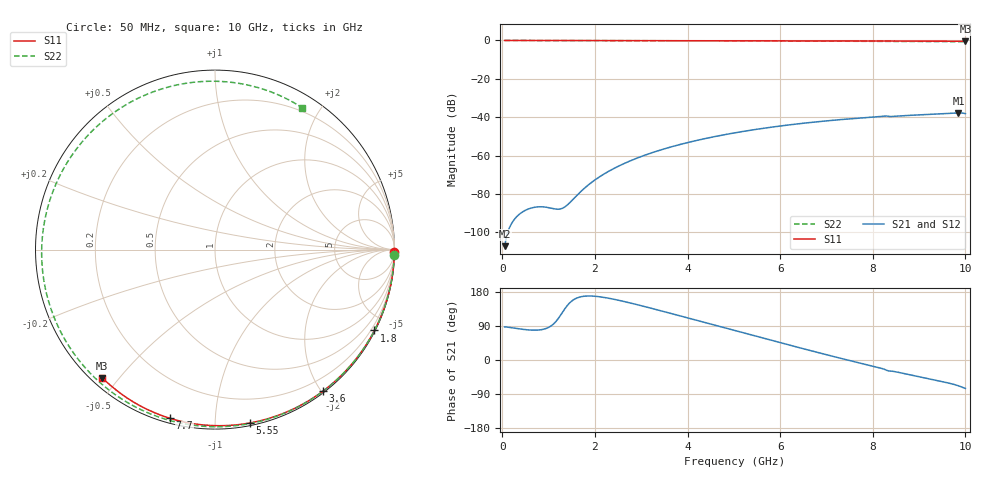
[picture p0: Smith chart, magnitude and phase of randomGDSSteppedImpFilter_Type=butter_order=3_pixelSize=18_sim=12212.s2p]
! freq	dB(S11)	phase(S11)	dB(S12)	phase(S12)
!  dB(S21)	phase(S21)	dB(S22)	phase(S22)
!S-par simulation data
#  GHz  S  DB  R 50
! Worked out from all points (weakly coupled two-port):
!   200 points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, 50 MHz to 10 GHz, reference 50 ohm
!   highest |S21| = -37.76 dB at 9.85 GHz (marker M1); lowest = -107.2 dB at 50 MHz (marker M2)
!   lowest |S11| = -0.4 dB at 10 GHz (marker M3), VSWR 40.26, Z = 1.5 - j22.6 ohm
!   |S11| at or under -10 dB: nowhere
!   |S22| runs from -0.6 to 0.0 dB; largest |S21 - S12| = 0
!   S11 on the Smith chart (normalised r, x): 50 MHz: open; 1.8 GHz: 0.04, -4.18; 3.6 GHz: 0.02, -2.02; 5.55 GHz: 0.02, -1.22; 7.7 GHz: 0.02, -0.77; 10 GHz: 0.03, -0.45
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0.05  -0.00 -0.8  -107.19 87.3  -107.19 87.3  -0.00 -1.6
0.8  -0.01 -12.1  -86.67 79.3  -86.67 79.3  -0.03 -25.4
1.6  -0.03 -24.0  -80.96 163.1  -80.96 163.1  -0.06 -50.0
1.65  -0.03 -24.7  -79.76 165.4  -79.76 165.4  -0.06 -51.5
1.75  -0.03 -26.2  -77.49 168.1  -77.49 168.1  -0.07 -54.5
1.8  -0.03 -26.9  -76.44 168.7  -76.44 168.7  -0.07 -56.0
2.1  -0.04 -31.3  -71.05 166.9  -71.05 166.9  -0.08 -64.9
2.45  -0.05 -36.3  -66.21 159.2  -66.21 159.2  -0.09 -75.1
2.9  -0.06 -42.8  -61.40 146.4  -61.40 146.4  -0.11 -88.0
3.4  -0.07 -49.8  -57.21 130.7  -57.21 130.7  -0.13 -101.9
3.6  -0.07 -52.6  -55.77 124.2  -55.77 124.2  -0.14 -107.3
4.3  -0.09 -62.1  -51.54 101.3  -51.54 101.3  -0.17 -126.2
5.05  -0.11 -72.1  -48.01 76.6  -48.01 76.6  -0.21 -146.1
5.55  -0.13 -78.6  -46.09 60.3  -46.09 60.3  -0.25 -159.4
6.15  -0.15 -86.1  -44.13 40.9  -44.13 40.9  -0.29 -175.7
6.7  -0.18 -92.9  -42.62 23.4  -42.62 23.4  -0.34 168.9
7.2  -0.21 -99.0  -41.47 7.8  -41.47 7.8  -0.38 154.3
7.7  -0.24 -104.9  -40.49 -7.5  -40.49 -7.5  -0.42 139.0
8.35  -0.29 -112.5  -39.58 -29.0  -39.58 -29.0  -0.48 117.8
9.1  -0.35 -121.1  -38.67 -46.9  -38.67 -46.9  -0.55 91.6
9.85  -0.42 -129.5  -37.76 -68.1  -37.76 -68.1  -0.63 63.9
10  -0.43 -131.3  -38.13 -75.0  -38.13 -75.0  -0.64 58.3
